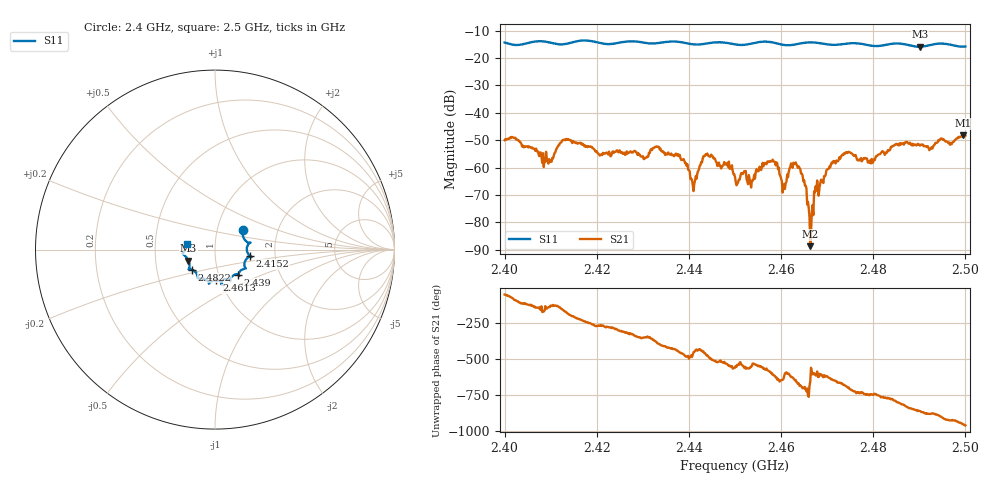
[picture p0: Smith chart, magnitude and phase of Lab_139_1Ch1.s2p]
# Hz S RI R 50
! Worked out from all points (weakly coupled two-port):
!   601 points, 2.4 GHz to 2.5 GHz, reference 50 ohm
!   highest |S21| = -48.23 dB at 2.4995 GHz (marker M1); lowest = -88.7 dB at 2.4663 GHz (marker M2)
!   lowest |S11| = -15.9 dB at 2.4902 GHz (marker M3), VSWR 1.38, Z = 36.9 - j4.62 ohm
!   |S11| at or under -10 dB: start of sweep to end of sweep
!   S12 and S22 are empty: the file has one direction only
!   S11 on the Smith chart (normalised r, x): 2.4 GHz: 1.33, +0.31; 2.4152 GHz: 1.48, -0.11; 2.439 GHz: 1.24, -0.36; 2.4613 GHz: 0.96, -0.34; 2.4822 GHz: 0.76, -0.17; 2.5 GHz: 0.72, +0.05
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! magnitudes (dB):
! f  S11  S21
! 2.4 GHz  -14.4  -50.0
! 2.4097 GHz  -14.3  -57.0
! 2.4152 GHz  -14.1  -50.7
! 2.4167 GHz  -13.6  -51.6
! 2.4333 GHz  -14.5  -52.4
! 2.439 GHz  -14.4  -57.6
! 2.4408 GHz  -15.0  -66.4
! 2.4437 GHz  -14.7  -55.1
! 2.45 GHz  -15.0  -63.4
! 2.458 GHz  -14.3  -57.8
! 2.4605 GHz  -15.2  -67.2
! 2.4613 GHz  -15.3  -62.6
! 2.4637 GHz  -14.9  -60.1
! 2.4663 GHz  -14.3  -88.7
! 2.4667 GHz  -14.3  -76.6
! 2.4677 GHz  -14.4  -68.4
! 2.4712 GHz  -15.2  -58.5
! 2.4822 GHz  -15.4  -54.3
! 2.4833 GHz  -15.0  -53.7
! 2.4902 GHz  -15.9  -52.0
! 2.4995 GHz  -15.9  -48.2
! 2.5 GHz  -15.8  -48.4
